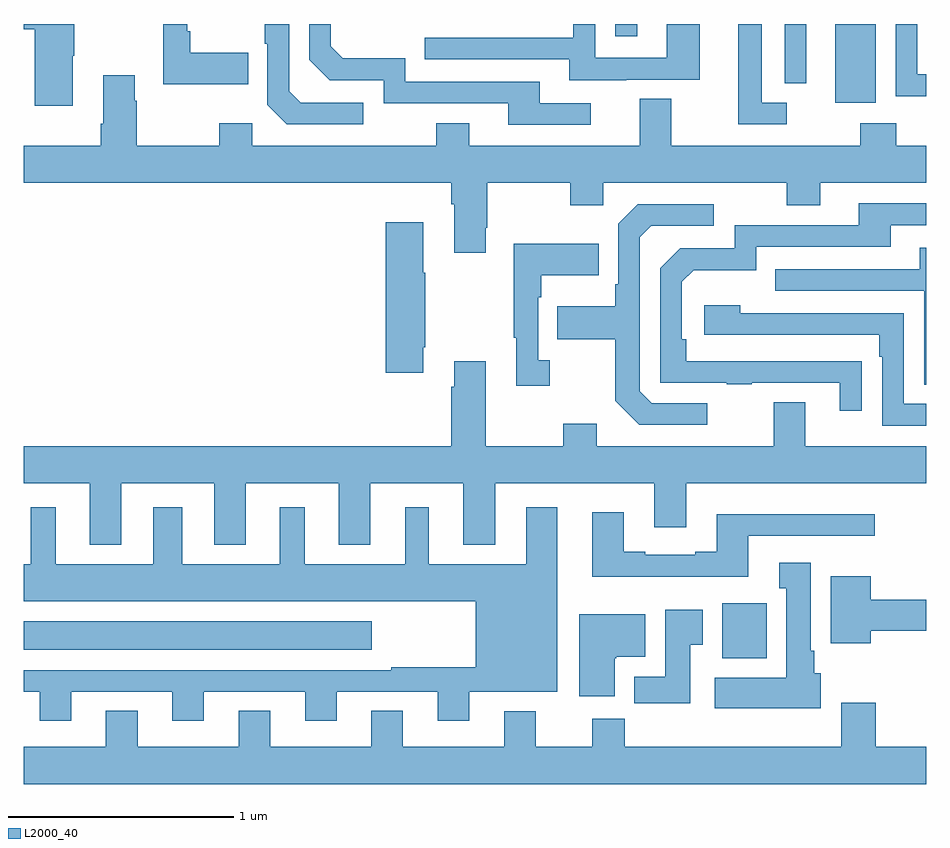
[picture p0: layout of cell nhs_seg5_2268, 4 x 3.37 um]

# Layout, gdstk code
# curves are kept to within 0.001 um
import gdstk
lib = gdstk.Library(unit=1e-6, precision=1e-09)
def R(c, l, rs):  # rectangles x0, y0, x1, y1
    for r in rs: c.add(gdstk.rectangle(r[:2], r[2:], *l))
def P(c, l, *ps):  # polygons
    for p in ps: c.add(gdstk.Polygon(p, *l))
L2000_40 = (2000, 40)

nhs_seg5_2268 = lib.new_cell('nhs_seg5_2268')
R(nhs_seg5_2268, L2000_40, [(246.095,851.99,246.292,852.232), (243,852.026,244.543,852.154), (246.596,854.45,246.775,854.799), (245.622,854.745,245.719,854.799)])
P(nhs_seg5_2268, L2000_40, [(243.217,854.659),(243.225,854.659),(243.225,854.799),(243,854.799),(243,854.776),(243.05,854.776),(243.05,854.436),(243.217,854.436)],
  [(243.995,854.671),(243.739,854.671),(243.739,854.767),(243.726,854.767),(243.726,854.799),(243.618,854.799),(243.618,854.531),(243.995,854.531)],
  [(245.671,854.553),(245.995,854.553),(245.995,854.799),(245.85,854.799),(245.85,854.649),(245.532,854.649),(245.532,854.799),(245.436,854.799),(245.436,854.739),(244.777,854.739),(244.777,854.643),(245.417,854.643),(245.417,854.549),(245.671,854.549)],
  [(244.504,854.451),(244.227,854.451),(244.176,854.502),(244.176,854.799),(244.068,854.799),(244.068,854.711),(244.08,854.711),(244.08,854.442),(244.167,854.355),(244.504,854.355)],
  [(245.512,854.448),(245.287,854.448),(245.287,854.544),(244.692,854.544),(244.692,854.647),(244.415,854.647),(244.362,854.7),(244.362,854.799),(244.266,854.799),(244.266,854.64),(244.356,854.55),(244.596,854.55),(244.596,854.448),(245.147,854.448),(245.147,854.352),(245.512,854.352)],
  [(246.468,854.69),(246.467,854.69),(246.467,854.799),(246.372,854.799),(246.372,854.536),(246.468,854.536)],
  [(247,854.577),(246.96,854.577),(246.96,854.799),(246.864,854.799),(246.864,854.479),(247,854.479)],
  [(246.382,854.451),(246.271,854.451),(246.271,854.799),(246.167,854.799),(246.167,854.355),(246.382,854.355)],
  [(245.047,853.897),(245.055,853.897),(245.055,854.096),(245.422,854.096),(245.422,853.997),(245.568,853.997),(245.568,854.096),(246.382,854.096),(246.382,853.997),(246.529,853.997),(246.529,854.096),(247,854.096),(247,854.26),(246.866,854.26),(246.866,854.359),(246.706,854.359),(246.706,854.26),(245.869,854.26),(245.869,854.468),(245.729,854.468),(245.729,854.26),(244.975,854.26),(244.975,854.359),(244.828,854.359),(244.828,854.26),(244.014,854.26),(244.014,854.359),(243.868,854.359),(243.868,854.26),(243.501,854.26),(243.501,854.459),(243.493,854.459),(243.493,854.572),(243.353,854.572),(243.353,854.356),(243.341,854.356),(243.341,854.26),(243,854.26),(243,854.096),(244.895,854.096),(244.895,854),(244.907,854),(244.907,853.785),(245.047,853.785)],
  [(246.713,853.304),(245.936,853.305),(245.936,853.402),(245.916,853.402),(245.916,853.656),(245.969,853.709),(246.246,853.709),(246.246,853.812),(246.841,853.812),(246.841,853.908),(247,853.908),(247,854.004),(246.701,854.004),(246.701,853.908),(246.15,853.908),(246.15,853.806),(245.91,853.806),(245.82,853.716),(245.82,853.209),(246.115,853.209),(246.115,853.204),(246.227,853.204),(246.227,853.209),(246.617,853.209),(246.617,853.086),(246.713,853.086)],
  [(246.028,853.119),(245.784,853.119),(245.73,853.173),(245.73,853.854),(245.781,853.905),(246.058,853.905),(246.058,854.001),(245.721,854.001),(245.634,853.914),(245.634,853.645),(245.622,853.645),(245.622,853.549),(245.365,853.549),(245.365,853.402),(245.622,853.402),(245.622,853.129),(245.727,853.023),(246.028,853.023)],
  [(244.771,853.366),(244.779,853.366),(244.779,853.697),(244.771,853.697),(244.771,853.921),(244.604,853.921),(244.604,853.254),(244.771,853.254)],
  [(245.332,853.31),(245.28,853.31),(245.28,853.589),(245.293,853.589),(245.293,853.685),(245.549,853.685),(245.549,853.825),(245.172,853.825),(245.172,853.409),(245.183,853.409),(245.183,853.197),(245.332,853.197)],
  [(247,853.807),(246.971,853.807),(246.971,853.713),(246.331,853.713),(246.331,853.617),(246.99,853.617),(246.99,853.201),(247,853.201)],
  [(247,853.116),(246.9,853.116),(246.9,853.518),(246.176,853.518),(246.176,853.552),(246.015,853.552),(246.015,853.422),(246.791,853.422),(246.791,853.325),(246.804,853.325),(246.804,853.02),(247,853.02)],
  [(243.433,852.764),(243.845,852.764),(243.845,852.491),(243.985,852.491),(243.985,852.764),(244.397,852.764),(244.397,852.491),(244.537,852.491),(244.537,852.764),(244.949,852.764),(244.949,852.491),(245.089,852.491),(245.089,852.764),(245.795,852.764),(245.795,852.57),(245.935,852.57),(245.935,852.764),(247,852.764),(247,852.928),(246.463,852.928),(246.463,853.123),(246.323,853.123),(246.323,852.928),(245.539,852.928),(245.539,853.027),(245.392,853.027),(245.392,852.928),(245.047,852.928),(245.047,853.306),(244.907,853.306),(244.907,853.193),(244.895,853.193),(244.895,852.928),(243,852.928),(243,852.764),(243.293,852.764),(243.293,852.491),(243.433,852.491)],
  [(243.211,851.841),(243.659,851.841),(243.659,851.712),(243.799,851.712),(243.799,851.841),(244.247,851.841),(244.247,851.712),(244.387,851.712),(244.387,851.841),(244.835,851.841),(244.835,851.712),(244.975,851.712),(244.975,851.84),(245.365,851.84),(245.365,852.658),(245.228,852.658),(245.228,852.406),(244.795,852.406),(244.795,852.658),(244.691,852.658),(244.691,852.406),(244.246,852.406),(244.246,852.658),(244.136,852.658),(244.136,852.406),(243.703,852.406),(243.703,852.658),(243.575,852.658),(243.575,852.406),(243.142,852.406),(243.142,852.658),(243.032,852.658),(243.032,852.406),(243,852.406),(243,852.242),(245.003,852.242),(245.003,851.95),(244.63,851.95),(244.63,851.937),(243,851.937),(243,851.841),(243.071,851.841),(243.071,851.712),(243.211,851.712)],
  [(246.211,852.531),(246.772,852.531),(246.772,852.628),(246.071,852.628),(246.071,852.46),(245.975,852.46),(245.975,852.447),(245.755,852.447),(245.755,852.46),(245.659,852.46),(245.659,852.637),(245.519,852.637),(245.519,852.35),(246.211,852.35)],
  [(246.532,851.922),(246.502,851.922),(246.502,852.022),(246.487,852.022),(246.487,852.412),(246.347,852.412),(246.347,852.299),(246.38,852.299),(246.38,851.902),(246.063,851.902),(246.063,851.768),(246.532,851.768)],
  [(246.754,852.112),(247,852.112),(247,852.248),(246.754,852.248),(246.754,852.352),(246.575,852.352),(246.575,852.056),(246.754,852.056)],
  [(245.953,852.049),(246.01,852.049),(246.01,852.205),(245.843,852.205),(245.843,851.908),(245.705,851.908),(245.705,851.79),(245.953,851.79)],
  [(245.62,851.99),(245.626,851.99),(245.626,851.996),(245.755,851.996),(245.755,852.184),(245.462,852.184),(245.462,851.82),(245.62,851.82)],
  [(247,851.596),(246.776,851.596),(246.776,851.791),(246.623,851.791),(246.623,851.596),(245.663,851.596),(245.663,851.72),(245.519,851.72),(245.519,851.596),(245.269,851.596),(245.269,851.755),(245.129,851.755),(245.129,851.596),(244.681,851.596),(244.681,851.756),(244.541,851.756),(244.541,851.596),(244.093,851.596),(244.093,851.756),(243.953,851.756),(243.953,851.596),(243.505,851.596),(243.505,851.756),(243.365,851.756),(243.365,851.596),(243,851.596),(243,851.432),(247,851.432)])

lib.write_gds('nhs_seg5_2268.gds')
